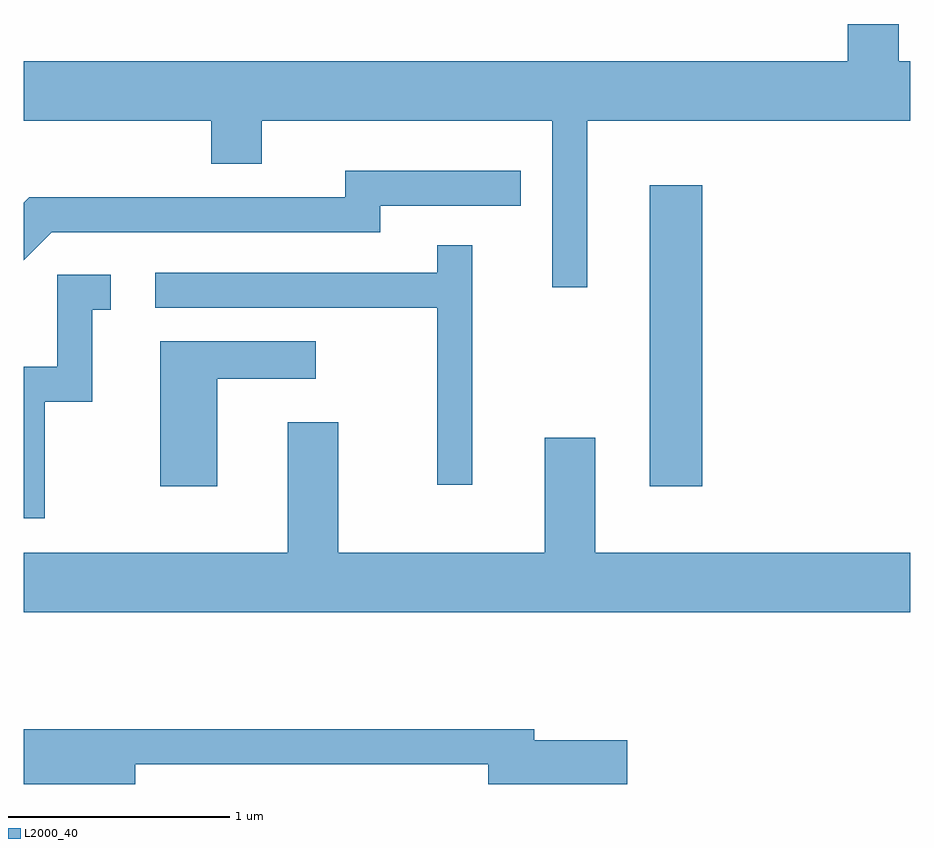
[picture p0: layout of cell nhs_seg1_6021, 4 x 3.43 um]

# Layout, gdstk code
import gdstk
lib = gdstk.Library(unit=1e-6, precision=1e-09)
def R(c, l, rs):  # rectangles x0, y0, x1, y1
    for r in rs: c.add(gdstk.rectangle(r[:2], r[2:], *l))
def P(c, l, *ps):  # polygons
    for p in ps: c.add(gdstk.Polygon(p, *l))
L2000_40 = (2000, 40)

nhs_seg1_6021 = lib.new_cell('nhs_seg1_6021')
R(nhs_seg1_6021, L2000_40, [(368.436,975.626,368.674,976.984)])
P(nhs_seg1_6021, L2000_40, [(368.154,977.276),(369.611,977.276),(369.611,977.544),(369.559,977.544),(369.559,977.712),(369.331,977.712),(369.331,977.544),(365.611,977.544),(365.611,977.276),(366.456,977.276),(366.456,977.081),(366.684,977.081),(366.684,977.276),(367.996,977.276),(367.996,976.523),(368.154,976.523)],
  [(365.737,976.771),(367.219,976.771),(367.219,976.891),(367.853,976.891),(367.853,977.049),(367.061,977.049),(367.061,976.929),(365.634,976.929),(365.611,976.906),(365.611,976.646)],
  [(367.634,976.713),(367.476,976.713),(367.476,976.589),(366.203,976.589),(366.203,976.431),(367.476,976.431),(367.476,975.633),(367.634,975.633)],
  [(365.704,976.006),(365.919,976.006),(365.919,976.421),(366.003,976.421),(366.003,976.579),(365.761,976.579),(365.761,976.164),(365.611,976.164),(365.611,975.481),(365.704,975.481)],
  [(366.484,976.111),(366.928,976.111),(366.928,976.279),(366.226,976.279),(366.226,975.626),(366.484,975.626)],
  [(369.611,975.324),(368.189,975.324),(368.189,975.844),(367.961,975.844),(367.961,975.324),(367.029,975.324),(367.029,975.914),(366.801,975.914),(366.801,975.324),(365.611,975.324),(365.611,975.056),(369.611,975.056)],
  [(366.114,974.371),(367.706,974.371),(367.706,974.281),(368.334,974.281),(368.334,974.479),(367.914,974.479),(367.914,974.529),(365.611,974.529),(365.611,974.281),(366.114,974.281)])

lib.write_gds('nhs_seg1_6021.gds')
